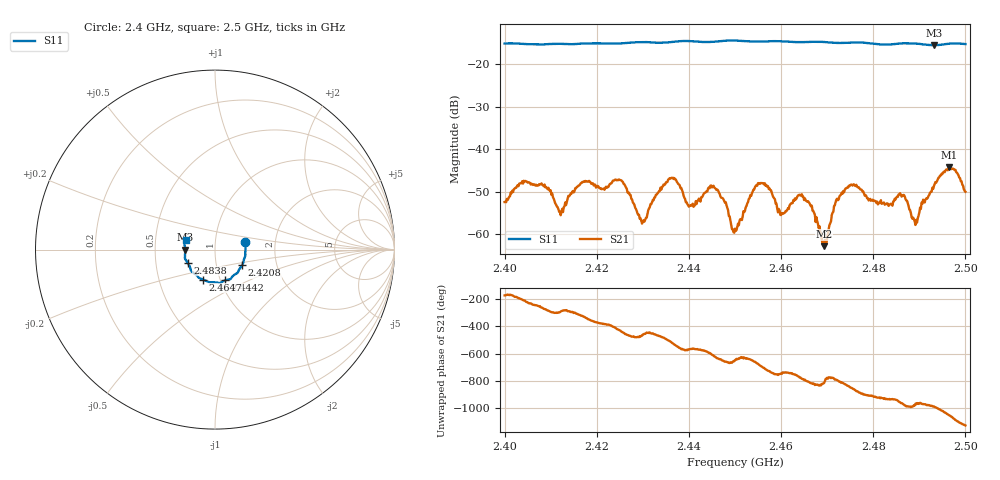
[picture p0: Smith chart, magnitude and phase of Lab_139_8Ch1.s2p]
# Hz S RI R 50
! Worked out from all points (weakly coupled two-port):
!   601 points, 2.4 GHz to 2.5 GHz, reference 50 ohm
!   highest |S21| = -44.29 dB at 2.4965 GHz (marker M1); lowest = -62.7 dB at 2.4693 GHz (marker M2)
!   lowest |S11| = -15.6 dB at 2.4932 GHz (marker M3), VSWR 1.40, Z = 35.8 - j0.0686 ohm
!   |S11| at or under -10 dB: start of sweep to end of sweep
!   S12 and S22 are empty: the file has one direction only
!   S11 on the Smith chart (normalised r, x): 2.4 GHz: 1.40, +0.12; 2.4208 GHz: 1.33, -0.24; 2.4442 GHz: 1.05, -0.37; 2.4647 GHz: 0.83, -0.29; 2.4838 GHz: 0.73, -0.11; 2.5 GHz: 0.72, +0.08
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2.4e9  0.1679 0.0409  -0.00239 -0.00028  0 0  0 0
2.404667e9  0.1703 0.0122  -0.00318 0.00273  0 0  0 0
2.412167e9  0.1671 -0.0397  0.000634 0.00156  0 0  0 0
2.416667e9  0.1588 -0.0682  0.00319 0.00244  0 0  0 0
2.420833e9  0.1507 -0.0872  0.00332 -0.00109  0 0  0 0
2.425333e9  0.1349 -0.1101  0.000846 -0.00423  0 0  0 0
2.43e9  0.1245 -0.1303  -0.000257 -0.00139  0 0  0 0
2.433333e9  0.1079 -0.1402  -0.000909 -0.00296  0 0  0 0
2.444167e9  0.0568 -0.1711  -0.00217 0.00271  0 0  0 0
2.45e9  0.0244 -0.1864  0.000351 0.00112  0 0  0 0
2.455167e9  -0.00827 -0.1823  0.00309 0.00254  0 0  0 0
2.460333e9  -0.0371 -0.1797  0.0017 -0.000547  0 0  0 0
2.464667e9  -0.0673 -0.167  0.00109 -0.00255  0 0  0 0
2.466667e9  -0.0801 -0.1627  -0.000324 -0.00215  0 0  0 0
2.469333e9  -0.0909 -0.1561  -7.04e-05 -0.000726  0 0  0 0
2.474833e9  -0.1212 -0.1294  -0.00199 -0.00309  0 0  0 0
2.483333e9  -0.1505 -0.076  -0.00178 0.00124  0 0  0 0
2.483833e9  -0.1531 -0.0719  -0.00188 0.00132  0 0  0 0
2.489333e9  -0.1679 -0.0411  -0.000452 0.00141  0 0  0 0
2.493167e9  -0.1658 -0.000933  -0.000162 0.00369  0 0  0 0
2.4965e9  -0.1701 0.0292  0.0054 0.00285  0 0  0 0
2.5e9  -0.1625 0.0528  0.00217 -0.00231  0 0  0 0
